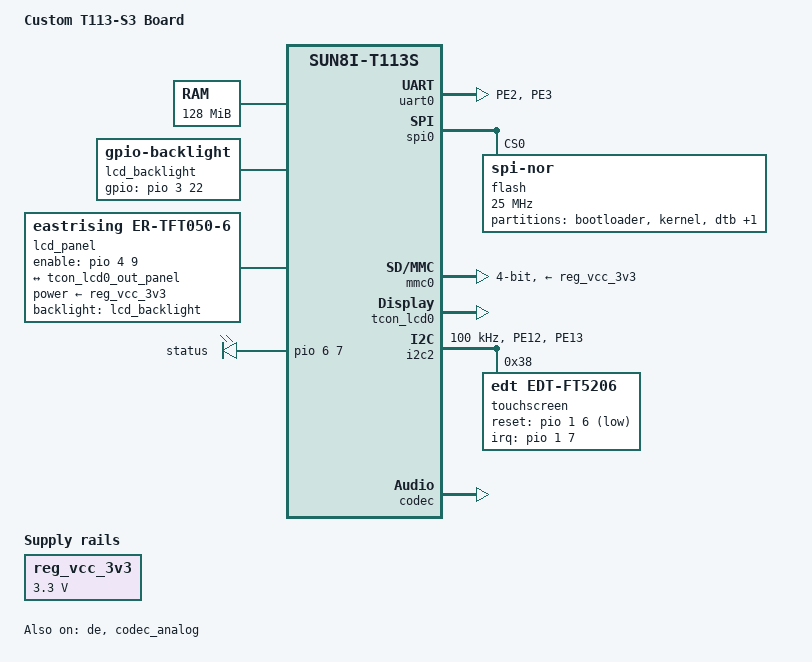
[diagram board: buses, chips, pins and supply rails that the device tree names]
// SPDX-License-Identifier: (GPL-2.0+ OR MIT)

/dts-v1/;

#include "sun8i-t113s.dtsi"
#include <dt-bindings/gpio/gpio.h>
#include <dt-bindings/leds/common.h>

/ {
	model = "Custom T113-S3 Board";
	compatible = "custom,t113s3-board",
		     "allwinner,sun8i-t113s";

	aliases {
		serial0 = &uart0;
		spi0 = &spi0;
		mmc0 = &mmc0;
	};

	chosen {
		stdout-path = "serial0:115200n8";
	};

	memory@40000000 {
		device_type = "memory";
		reg = <0x40000000 0x08000000>; /* 128 MiB */
	};

	reg_vcc_3v3: regulator-vcc-3v3 {
		compatible = "regulator-fixed";
		regulator-name = "vcc-3v3";
		regulator-min-microvolt = <3300000>;
		regulator-max-microvolt = <3300000>;
		regulator-boot-on;
		regulator-always-on;
	};

	lcd_backlight: backlight {
		compatible = "gpio-backlight";

		/*
		 * PD22 = LCD_BLK
		 * MP9284 EN, High일 때 백라이트 ON
		 */
		gpios = <&pio 3 22 GPIO_ACTIVE_HIGH>;

		/*
		 * 초기 Bring-up 단계에서는 항상 켜 둔다.
		 * 정상 동작 확인 후 제거해도 된다.
		 */
		default-on;
	};

	lcd_panel: panel {
		compatible = "eastrising,er-tft050-6", "panel-dpi";

		/* 패널 논리 전원 3.3V */
		power-supply = <&reg_vcc_3v3>;

		/*
		 * PE9 = 회로도상 LCD_RESET
		 *
		 * 실제 ER-TFT050-6의 31번 핀은 DISP이며:
		 * High = Normal Display
		 * Low  = Standby
		 */
		enable-gpios = <&pio 4 9 GPIO_ACTIVE_HIGH>;

		backlight = <&lcd_backlight>;

		width-mm = <108>;
		height-mm = <65>;

		panel-timing {
			/* ST7265 권장 Typical 값 */
			clock-frequency = <25000000>;

			hactive = <800>;
			hfront-porch = <8>;
			hback-porch = <8>;
			hsync-len = <4>;

			vactive = <480>;
			vfront-porch = <16>;
			vback-porch = <16>;
			vsync-len = <4>;

			/*
			 * ST7265 기본 극성 기준
			 */
			hsync-active = <0>;
			vsync-active = <0>;
			de-active = <1>;
			pixelclk-active = <0>;
		};

		port {
			lcd_panel_in: endpoint {
				remote-endpoint =
					<&tcon_lcd0_out_panel>;
			};
		};
	};
	leds {
		compatible = "gpio-leds";

		status_led: led-status {
		label = "status";
		function = LED_FUNCTION_STATUS;

		gpios = <&pio 6 7 GPIO_ACTIVE_HIGH>;

		linux,default-trigger = "timer";
		default-state = "off";
		};
	};
};

&dcxo {
	clock-frequency = <24000000>;
};

&pio {
	/*
	 * PC: SPI NOR
	 * PE: UART0
	 * PF: SD card
	 * PD: LCD
	 */
	vcc-pc-supply = <&reg_vcc_3v3>;
	vcc-pe-supply = <&reg_vcc_3v3>;
	vcc-pf-supply = <&reg_vcc_3v3>;
	vcc-pd-supply = <&reg_vcc_3v3>;

	uart0_pe_pins: uart0-pe-pins {
		pins = "PE2", "PE3";
		function = "uart0";
	};

	i2c2_pe_pins: i2c2-pe-pins {
		pins = "PE12", "PE13";
		function = "i2c2";
	};
};

/* Debug UART0: PE2=TX, PE3=RX */
&uart0 {
	pinctrl-names = "default";
	pinctrl-0 = <&uart0_pe_pins>;
	status = "okay";
};

/*
 * SPI0:
 * PC2 = CLK
 * PC3 = CS0
 * PC4 = MOSI / IO0
 * PC5 = MISO / IO1
 *
 * PC6/PC7은 현재 1-bit SPI 모드에서는 사용하지 않는다.
 */
&spi0 {
	pinctrl-names = "default";
	pinctrl-0 = <&spi0_pins>;
	status = "okay";

	flash@0 {
		compatible = "jedec,spi-nor";
		reg = <0>;

		spi-max-frequency = <25000000>;
		spi-tx-bus-width = <1>;
		spi-rx-bus-width = <1>;

		partitions {
			compatible = "fixed-partitions";
			#address-cells = <1>;
			#size-cells = <1>;

			/*
			 * SPL + U-Boot + U-Boot environment
			 * 0x000000 ~ 0x0fffff
			 */
			partition@0 {
				label = "bootloader";
				reg = <0x000000 0x100000>;
				read-only;
			};

			/*
			 * Linux zImage
			 * 0x100000 ~ 0x8fffff
			 */
			partition@100000 {
				label = "kernel";
				reg = <0x100000 0x800000>;
				read-only;
			};

			/*
			 * Linux DTB
			 * 0x900000 ~ 0x91ffff
			 */
			partition@900000 {
				label = "dtb";
				reg = <0x900000 0x020000>;
				read-only;
			};

			/*
			 * 사용자 데이터 영역
			 * 0x920000 ~ 0x1ffffff
			 * 총 0x16e0000 bytes
			 */
			partition@920000 {
				label = "rootfs";
				reg = <0x920000 0x16e0000>;
			};
		};
	};
};

/*
 * MMC0 / microSD
 *
 * PF0 = DAT1
 * PF1 = DAT0
 * PF2 = CLK
 * PF3 = CMD
 * PF4 = DAT3
 * PF5 = DAT2
 */
&mmc0_pins {
	drive-strength = <30>;
	bias-pull-up;
};

&mmc0 {
	pinctrl-names = "default";
	pinctrl-0 = <&mmc0_pins>;

	vmmc-supply = <&reg_vcc_3v3>;

	bus-width = <4>;
	max-frequency = <25000000>; // 25MHz

	/*
	 * SD 신호 전압이 고정 3.3V이므로
	 * 1.8V UHS 전압 전환을 금지한다.
	 */
	no-1-8-v;

	/*
	 * 카드 감지 핀이 없으면 polling 사용.
	 */
	broken-cd;


	/*
	* WP(Write Protect) 핀도 사용하지 않는 경우.
	* microSD 슬롯이면 일반적으로 WP 핀이 없다.
	*/
	disable-wp;

	status = "okay";
};

/*
 * Allwinner Display Engine 활성화
 */
&de {
	status = "okay";
};

/*
 * TCON LCD0에서 PD0~PD21 RGB666 핀 사용
 */
&tcon_lcd0 {
	pinctrl-names = "default";
	pinctrl-0 = <&lcd_rgb666_pins>;
	status = "okay";
};

&i2c2 {
	pinctrl-names = "default";
	pinctrl-0 = <&i2c2_pe_pins>;
	clock-frequency = <100000>;
	status = "okay";

	touchscreen@38 {
		compatible = "edt,edt-ft5206";
		reg = <0x38>;
		interrupt-parent = <&pio>;
		interrupts = <1 7 IRQ_TYPE_EDGE_FALLING>;   /* PB7 */
		reset-gpios = <&pio 1 6 GPIO_ACTIVE_LOW>;   /* PB6 */
		touchscreen-size-x = <800>;
		touchscreen-size-y = <480>;
		status = "okay";
	};
};

/*
 * TCON LCD0 RGB 출력과 DPI 패널 연결
 *
 * endpoint@1은 기존 DSI 출력이므로,
 * RGB 패널은 endpoint@0을 사용한다.
 */
&tcon_lcd0_out {
	tcon_lcd0_out_panel: endpoint@0 {
		reg = <0>;
		remote-endpoint = <&lcd_panel_in>;
	};
};

&codec {
	status = "okay";
	allwinner,audio-routing = "Headphone", "HP";
};

&codec_analog {
	status = "okay";
};
